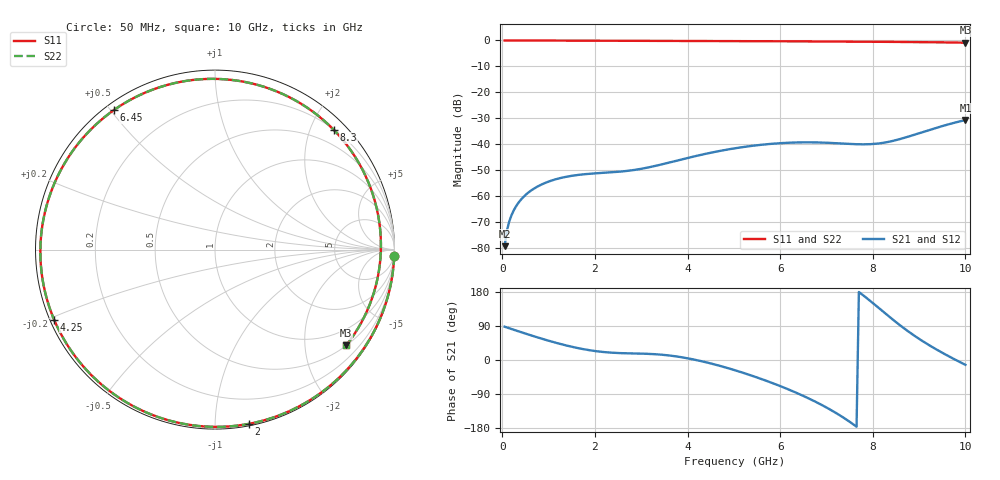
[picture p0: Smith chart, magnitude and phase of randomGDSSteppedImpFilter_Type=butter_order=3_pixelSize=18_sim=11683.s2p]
! freq	dB(S11)	phase(S11)	dB(S12)	phase(S12)
!  dB(S21)	phase(S21)	dB(S22)	phase(S22)
!S-par simulation data
#  GHz  S  DB  R 50
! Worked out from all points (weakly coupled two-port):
!   200 points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, 50 MHz to 10 GHz, reference 50 ohm
!   highest |S21| = -30.65 dB at 10 GHz (marker M1); lowest = -79.2 dB at 50 MHz (marker M2)
!   lowest |S11| = -0.9 dB at 10 GHz (marker M3), VSWR 20.06, Z = 25.3 - j149 ohm
!   |S11| at or under -10 dB: nowhere
!   |S22| runs from -0.9 to 0.0 dB; largest |S21 - S12| = 0
!   S11 on the Smith chart (normalised r, x): 50 MHz: 1, -55; 2 GHz: 0.01, -1.21; 4.25 GHz: 0.01, -0.21; 6.45 GHz: 0.03, +0.51; 8.3 GHz: 0.21, +2.38; 10 GHz: 0.51, -2.99
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0.05  -0.01 -2.1  -79.22 87.9  -79.22 87.9  -0.01 -2.1
0.1  -0.01 -4.2  -73.21 85.8  -73.21 85.8  -0.01 -4.2
0.2  -0.01 -8.3  -67.24 81.7  -67.24 81.7  -0.01 -8.3
0.35  -0.02 -14.4  -62.48 75.7  -62.48 75.7  -0.02 -14.4
0.5  -0.02 -20.5  -59.53 69.7  -59.53 69.7  -0.02 -20.5
1  -0.05 -40.7  -54.34 50.9  -54.34 50.9  -0.05 -40.7
1.75  -0.09 -69.7  -51.56 28.6  -51.56 28.6  -0.09 -69.7
2  -0.10 -79.0  -51.19 23.7  -51.19 23.7  -0.10 -79.0
2.65  -0.12 -102.4  -50.33 17.8  -50.33 17.8  -0.12 -102.4
3.4  -0.15 -128.1  -47.91 14.4  -47.91 14.4  -0.15 -128.1
4.25  -0.20 -156.5  -44.22 -1.7  -44.22 -1.7  -0.20 -156.5
5.05  -0.24 176.7  -41.45 -28.0  -41.45 -28.0  -0.24 176.7
5.75  -0.30 152.1  -39.90 -57.0  -39.90 -57.0  -0.30 152.1
6.45  -0.35 125.8  -39.25 -92.0  -39.25 -92.0  -0.35 125.9
6.7  -0.38 115.9  -39.24 -106.3  -39.24 -106.3  -0.38 115.9
7.5  -0.45 82.1  -39.85 -163.0  -39.85 -163.0  -0.45 82.1
8.3  -0.54 45.3  -39.19 119.9  -39.19 119.9  -0.54 45.3
8.35  -0.55 42.9  -39.02 114.9  -39.02 114.9  -0.55 42.9
8.75  -0.60 23.7  -37.13 76.9  -37.13 76.9  -0.60 23.8
9.15  -0.67 4.4  -34.87 44.1  -34.87 44.1  -0.67 4.5
9.55  -0.75 -14.8  -32.72 15.8  -32.72 15.8  -0.75 -14.7
10  -0.87 -36.1  -30.65 -12.7  -30.65 -12.7  -0.87 -36.1
